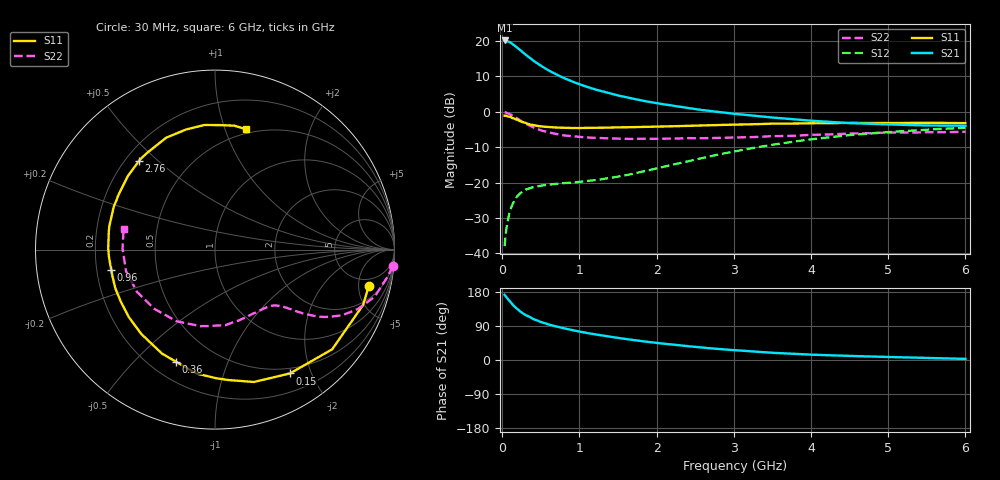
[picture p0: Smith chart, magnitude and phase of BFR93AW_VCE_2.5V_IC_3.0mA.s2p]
! Infineon Technologies  Discrete & RF Semiconductors
! BFR93AW
! VCE =  2.5 V,  IC =  3.0 mA
! Common Emitter S-Parameters:  Nov 2015
# GHz  S  MA  R  50
!  f  S11  S21  S12  S22
! GHz  MAG  ANG  MAG  ANG  MAG  ANG  MAG  ANG
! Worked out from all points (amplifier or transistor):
!   206 points, 30 MHz to 6 GHz, reference 50 ohm
!   highest |S21| = 20.2 dB at 30 MHz (marker M1)
!   |S21| within 3 dB of that: start of sweep to 246.6 MHz
!   unconditionally stable (mu >= 1): 1.109 GHz to 2.414 GHz
!   at 200 MHz: K = 0.22, MSG = 20.9 dB, |S12| = -23.7 dB
!   at 1.56 GHz: K = 1.14, MAG = 8.9 dB, |S12| = -18.1 dB
!   at 6 GHz: K = 0.98, MSG = 0.3 dB, |S12| = -4.5 dB
!   S11 on the Smith chart (normalised r, x): 30 MHz: 3.61, -6.56; 150 MHz: 0.43, -1.69; 360 MHz: 0.30, -0.67; 960 MHz: 0.26, -0.09; 2.76 GHz: 0.25, +0.44; 6 GHz: 0.46, +1.18
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0.03  0.8805 -13.4  10.2 172.0  0.0126 83.4  0.9946 -5.3
0.05  0.8808 -20.5  10.13 166.4  0.0209 79.5  0.9755 -8.7
0.1  0.8572 -40.4  9.648 154.0  0.0402 69.1  0.9269 -16.5
0.15  0.8066 -58.8  8.82 142.5  0.0541 60.5  0.8611 -22.7
0.2  0.7688 -73.6  7.991 133.3  0.0654 53.6  0.7961 -27.4
0.26  0.7171 -89.3  7.018 124.1  0.0742 47.6  0.7225 -31.3
0.3  0.6983 -98.5  6.46 118.8  0.0792 44.6  0.6824 -33.2
0.36  0.6611 -109.3  5.739 113.0  0.0833 41.8  0.6337 -34.9
0.4  0.6504 -117.0  5.298 108.3  0.0861 40.1  0.6016 -36.1
0.5  0.6241 -131.2  4.473 100.2  0.0903 37.3  0.5459 -37.9
0.6  0.6099 -142.0  3.835 93.8  0.0933 36.4  0.5105 -39.2
0.8  0.5958 -158.8  2.989 83.4  0.0981 37.6  0.4635 -42.2
0.96  0.5891 -168.8  2.544 76.7  0.101 40.0  0.4458 -44.5
1.04  0.5901 -173.2  2.366 73.6  0.1032 41.5  0.4379 -46.2
1.2  0.5951 179.1  2.075 67.8  0.1078 45.1  0.4283 -49.6
1.5  0.6029 167.6  1.7 58.3  0.121 52.2  0.4184 -56.9
2.02  0.6186 150.1  1.313 44.5  0.16 60.8  0.4166 -71.5
2.76  0.6509 130.5  1.006 29.8  0.2441 63.2  0.4265 -93.9
3.1  0.661 122.4  0.916 24.7  0.2872 61.2  0.4346 -104.4
4.1  0.6887 101.8  0.737 13.5  0.4196 50.0  0.4739 -139.0
5.1  0.6945 86.2  0.657 7.5  0.5257 35.8  0.5086 -169.2
6  0.6922 75.5  0.636 2.9  0.5948 23.9  0.5225 167.1
